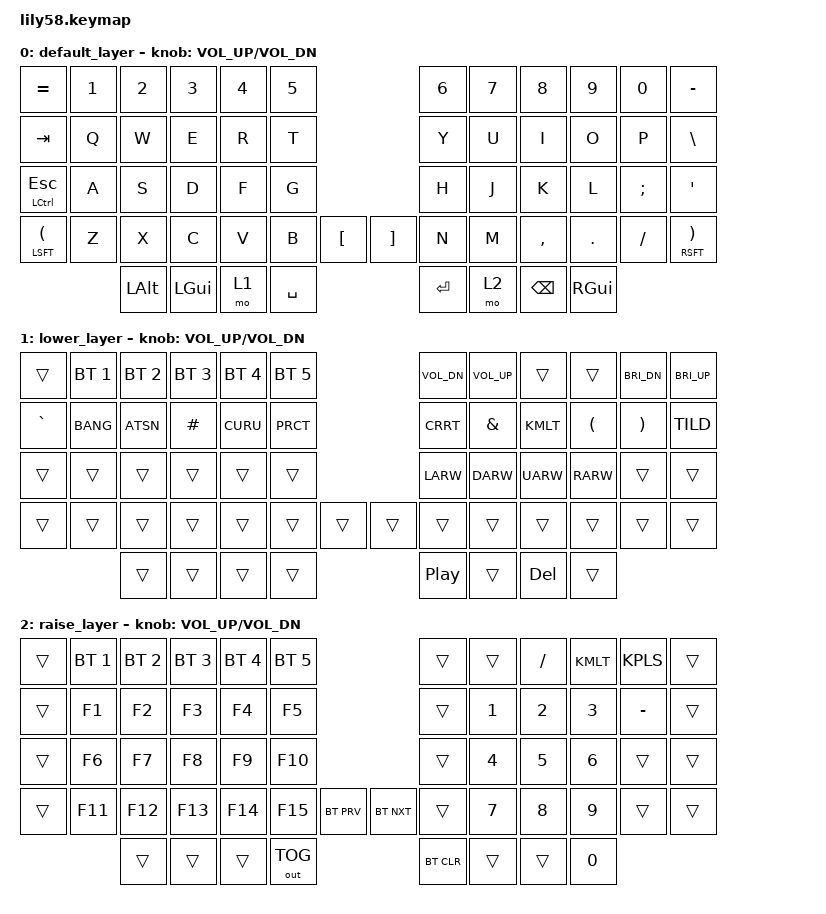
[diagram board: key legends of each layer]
#include <behaviors.dtsi>
#include <dt-bindings/zmk/bt.h>
#include <dt-bindings/zmk/keys.h>
#include <dt-bindings/zmk/outputs.h>

// ZMK codes:
// https://zmkfirmware.dev/docs/codes
// https://github.com/zmkfirmware/zmk/blob/main/app/include/dt-bindings/zmk/keys.h
// QMK-equivalent codes:
// https://github.com/qmk/qmk_firmware/blob/master/tmk_core/common/keycode.h

/ {
  behaviors {
      tm: tap_mods {
          compatible = "zmk,behavior-hold-tap";
          label = "TAP_MODS";
          #binding-cells = <2>;
          tapping_term_ms = <120>;
          flavor = "tap-preferred";
          bindings = <&kp>, <&kp>;
      };
  };

	keymap {
		compatible = "zmk,keymap";

		default_layer {
// ------------------------------------------------------------------------------------------------------------
// |   =   |  1  |  2  |  3   |  4   |  5   |                   |  6   |  7    |  8    |  9   |   0   |   -   |
// |  TAB  |  Q  |  W  |  E   |  R   |  T   |                   |  Y   |  U    |  I    |  O   |   P   |   \   |
// |  CTRL |  A  |  S  |  D   |  F   |  G   |                   |  H   |  J    |  K    |  L   |   ;   |   '   |
// | SHIFT |  Z  |  X  |  C   |  V   |  B   |   "["  |  |  "]"  |  N   |  M    |  ,    |  .   |   /   | SHIFT |
//                     | ALT  | GUI  | LOWER|  SPACE |  | ENTER | RAISE| BSPC  | GUI   |
			bindings = <
&kp EQL        &kp NUM_1  &kp NUM_2  &kp NUM_3  &kp NUM_4  &kp NUM_5                       &kp NUM_6  &kp NUM_7  &kp NUM_8  &kp NUM_9  &kp NUM_0  &kp MINUS
&kp TAB        &kp Q      &kp W      &kp E      &kp R      &kp T                           &kp Y      &kp U      &kp I      &kp O      &kp P      &kp BSLH
&mt LCTL ESC   &kp A      &kp S      &kp D      &kp F      &kp G                           &kp H      &kp J      &kp K      &kp L      &kp SCLN   &kp QUOT
&tm LSFT LPRN  &kp Z      &kp X      &kp C      &kp V      &kp B      &kp LBKT  &kp RBKT   &kp N      &kp M      &kp CMMA   &kp DOT    &kp FSLH   &tm RSFT RPRN
                          &kp LALT   &kp LGUI   &mo 1      &kp SPC                         &kp RET    &mo 2      &kp BKSP   &kp RGUI
			>;

			sensor-bindings = <&inc_dec_cp C_VOL_UP C_VOL_DN>;
		};

		lower_layer {
// ------------------------------------------------------------------------------------------------------------
// |       |     |     |      |      |      |                   | VOLD | VOLU  |       |      | BRTD  | BRTU  |
// |   `   |  !  |  @  |  #   |  $   |  %   |                   |  ^   |  &    |  *    |  (   |   )   |   ~   |
// |       |     |     |      |      |      |                   | LEFT | DOWN  |  UP   |RIGHT |       |       |
// |       |     |     |      |      |      |        |  |       |      |       |       |      |       |       |
//                     |      |      |      |        |  | PLAY  |      |       |       |
			bindings = <
&trans  &bt BT_SEL 1 &bt BT_SEL 2  &bt BT_SEL 3 &bt BT_SEL 4  &bt BT_SEL 5                    &kp C_VOL_DN  &kp C_VOL_UP  &trans    &trans    &kp C_BRI_DN  &kp C_BRI_UP
&kp GRAV  &kp BANG  &kp ATSN  &kp HASH  &kp CURU  &kp PRCT                  &kp CRRT      &kp AMPS      &kp KMLT  &kp LPRN  &kp RPRN      &kp TILD
&trans    &trans    &trans    &trans    &trans    &trans                    &kp LARW      &kp DARW      &kp UARW  &kp RARW  &trans        &trans
&trans    &trans    &trans    &trans    &trans    &trans    &trans  &trans  &trans        &trans        &trans    &trans    &trans        &trans
                    &trans    &trans    &trans    &trans                    &kp C_PP      &trans        &kp DEL   &trans
			>;

			sensor-bindings = <&inc_dec_cp C_VOL_UP C_VOL_DN>;
		};

		raise_layer {
// ------------------------------------------------------------------------------------------------------------
// |      | BT_1 | BT_2 | BT_3  | BT_4 | BT_5 |                    |       |       |   /   |   *   |   +   |       |
// |      |  F1  |  F2  |  F3   |  F4  |  F5  |                    |       |   1   |   2   |   3   |   -   |       |
// |      |  F6  |  F7  |  F8   |  F9  |  F10 |                    |       |   4   |   5   |   6   |       |       |
// |      |  F11 |  F12 |  F13  |  F14 |  F15 | BT_PRV |  | BT_NXT |       |   7   |   8   |   9   |       |       |
//                      |       |      |      |        |  | BT_CLR |       |       |   0   |
			bindings = <
&trans  &bt BT_SEL 1 &bt BT_SEL 2  &bt BT_SEL 3 &bt BT_SEL 4  &bt BT_SEL 5                          &trans      &trans     &kp FSLH   &kp KMLT   &kp KPLS   &trans
&trans  &kp F1       &kp F2        &kp F3       &kp F4        &kp F5                                &trans      &kp NUM_1  &kp NUM_2  &kp NUM_3  &kp MINUS  &trans
&trans  &kp F6       &kp F7        &kp F8       &kp F9        &kp F10                               &trans      &kp NUM_4  &kp NUM_5  &kp NUM_6  &trans     &trans
&trans  &kp F11      &kp F12       &kp F13      &kp F14       &kp F15       &bt BT_PRV  &bt BT_NXT  &trans      &kp NUM_7  &kp NUM_8  &kp NUM_9  &trans     &trans
                     &trans        &trans       &trans        &out OUT_TOG                          &bt BT_CLR  &trans     &trans     &kp NUM_0
			>;

			sensor-bindings = <&inc_dec_cp C_VOL_UP C_VOL_DN>;
		};
	};
};
